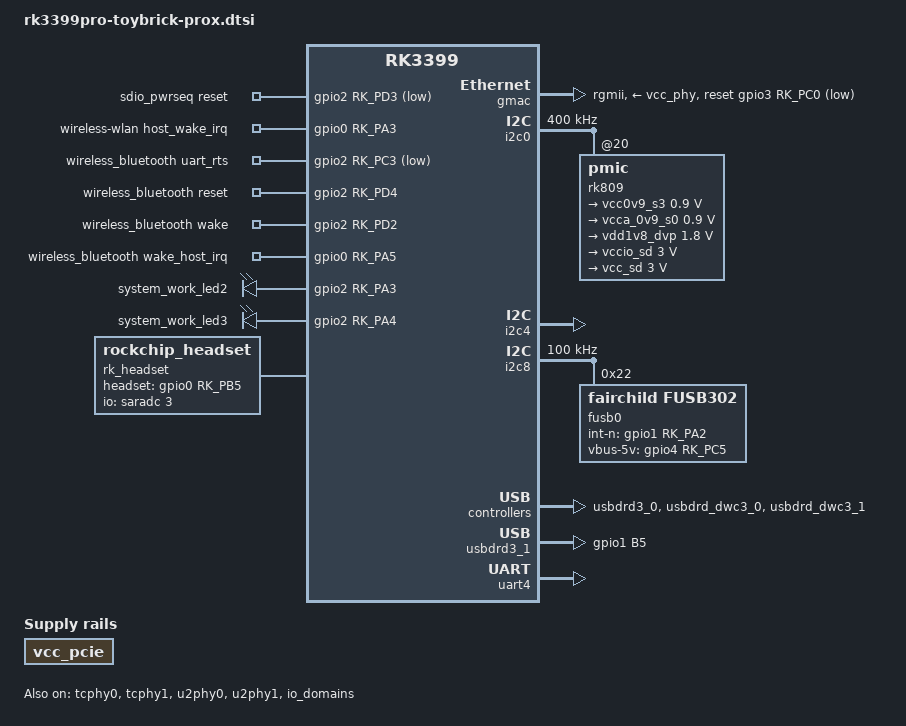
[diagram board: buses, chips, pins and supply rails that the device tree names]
/*
 * Copyright (c) 2019 Fuzhou Rockchip Electronics Co., Ltd
 *
 * This file is dual-licensed: you can use it either under the terms
 * of the GPL or the X11 license, at your option. Note that this dual
 * licensing only applies to this file, and not this project as a
 * whole.
 *
 *  a) This file is free software; you can redistribute it and/or
 *     modify it under the terms of the GNU General Public License as
 *     published by the Free Software Foundation; either version 2 of the
 *     License, or (at your option) any later version.
 *
 *     This file is distributed in the hope that it will be useful,
 *     but WITHOUT ANY WARRANTY; without even the implied warranty of
 *     MERCHANTABILITY or FITNESS FOR A PARTICULAR PURPOSE.  See the
 *     GNU General Public License for more details.
 *
 * Or, alternatively,
 *
 *  b) Permission is hereby granted, free of charge, to any person
 *     obtaining a copy of this software and associated documentation
 *     files (the "Software"), to deal in the Software without
 *     restriction, including without limitation the rights to use,
 *     copy, modify, merge, publish, distribute, sublicense, and/or
 *     sell copies of the Software, and to permit persons to whom the
 *     Software is furnished to do so, subject to the following
 *     conditions:
 *
 *     The above copyright notice and this permission notice shall be
 *     included in all copies or substantial portions of the Software.
 *
 *     THE SOFTWARE IS PROVIDED "AS IS", WITHOUT WARRANTY OF ANY KIND,
 *     EXPRESS OR IMPLIED, INCLUDING BUT NOT LIMITED TO THE WARRANTIES
 *     OF MERCHANTABILITY, FITNESS FOR A PARTICULAR PURPOSE AND
 *     NONINFRINGEMENT. IN NO EVENT SHALL THE AUTHORS OR COPYRIGHT
 *     HOLDERS BE LIABLE FOR ANY CLAIM, DAMAGES OR OTHER LIABILITY,
 *     WHETHER IN AN ACTION OF CONTRACT, TORT OR OTHERWISE, ARISING
 *     FROM, OUT OF OR IN CONNECTION WITH THE SOFTWARE OR THE USE OR
 *     OTHER DEALINGS IN THE SOFTWARE.
 */

#include "rk3399pro-toybrick.dtsi"
#include "rk3399-vop-clk-set.dtsi"

/ {
	compatible = "rockchip,rk3399pro-toybrick-prox","rockchip,rk3399pro";

	vcc_pcie: vcc-pcie-regulator {
		compatible = "regulator-fixed";
		enable-active-high;
		//gpio = <&gpio2 6 GPIO_ACTIVE_HIGH>;
		pinctrl-names = "default";
		//pinctrl-0 = <&vcc_pcie_drv>;
		regulator-name = "vcc_pcie";
		regulator-always-on;
		regulator-boot-on;
	};

	sdio_pwrseq: sdio-pwrseq {
		compatible = "mmc-pwrseq-simple";
		clocks = <&rk809 1>;
		clock-names = "ext_clock";
		pinctrl-names = "default";
		pinctrl-0 = <&wifi_enable_h>;

		/*
		 * On the module itself this is one of these (depending
		 * on the actual card populated):
		 * - SDIO_RESET_L_WL_REG_ON
 		* - PDN (power down when low)
 		*/
		reset-gpios = <&gpio2 RK_PD3 GPIO_ACTIVE_LOW>;
	};

	wireless-wlan {
		compatible = "wlan-platdata";
		rockchip,grf = <&grf>;
		wifi_chip_type = "ap6255";
		sdio_vref = <1800>;
		WIFI,host_wake_irq = <&gpio0 RK_PA3 GPIO_ACTIVE_HIGH>; /* GPIO0_A3 */
		status = "okay";
	};

	wireless_bluetooth: wireless-bluetooth {
		compatible = "bluetooth-platdata";
		clocks = <&rk809 1>;
		clock-names = "ext_clock";
		/* wifi-bt-power-toggle; */
		uart_rts_gpios = <&gpio2 RK_PC3 GPIO_ACTIVE_LOW>;//UART0_RTS_BT
		pinctrl-names = "default", "rts_gpio";
		pinctrl-0 = <&uart0_rts>;
		pinctrl-1 = <&uart0_gpios>;
		/* BT,power_gpio  = <&gpio3 19 GPIO_ACTIVE_HIGH>; */
		BT,reset_gpio    = <&gpio2 RK_PD4 GPIO_ACTIVE_HIGH>;//BT_REG_ON_H 
		BT,wake_gpio     = <&gpio2 RK_PD2 GPIO_ACTIVE_HIGH>;//BT_WAKE_L  
		BT,wake_host_irq = <&gpio0 RK_PA5 GPIO_ACTIVE_HIGH>;//BT_HOST_WAKE_L  
		status = "okay";
	};

	leds: gpio-leds {
		compatible = "gpio-leds";
		pinctrl-names = "default";
		pinctrl-0 =<&leds_gpio>;
		/*
		led@1 {
			gpios = <&gpio2 RK_PA5 GPIO_ACTIVE_HIGH>;
			label = "system_work_led1"; // Blue LED
			retain-state-suspended;
		};
		*/
		led@2 {
			gpios = <&gpio2 RK_PA3 GPIO_ACTIVE_HIGH>;
			label = "system_work_led2"; // Red LED
			retain-state-suspended;
		};

		led@3 {
			gpios = <&gpio2 RK_PA4 GPIO_ACTIVE_HIGH>;
			label = "system_work_led3"; // Green LED
			retain-state-suspended;
		};
	};

	rk_headset {
		compatible = "rockchip_headset";
		headset_gpio = <&gpio0 RK_PB5 GPIO_ACTIVE_HIGH>;
		pinctrl-names = "default";
		pinctrl-0 = <&hp_det>;
		io-channels = <&saradc 3>;
	};
	usbacm_video_control: usbacm-video-control {
		compatible = "rockchip,usbacm-video-control";
		status = "disabled";
	};
};

&gmac {
	phy-supply = <&vcc_phy>;
	phy-mode = "rgmii";
	clock_in_out = "input";
	snps,reset-gpio = <&gpio3 RK_PC0 GPIO_ACTIVE_LOW>;
	snps,reset-active-low;
	snps,reset-delays-us = <0 10000 50000>;
	assigned-clocks = <&cru SCLK_RMII_SRC>;
	assigned-clock-parents = <&clkin_gmac>;
	pinctrl-names = "default";
	pinctrl-0 = <&rgmii_pins>;
	tx_delay = <0x28>;
	rx_delay = <0x20>;
	status = "okay";
};

&i2c0 {
	status = "okay";
	i2c-scl-rising-time-ns = <180>;
	i2c-scl-falling-time-ns = <30>;
	clock-frequency = <400000>;
	rk809: pmic@20 {
		regulators {
			vcc0v9_s3: LDO_REG1 {
				regulator-always-on;
				regulator-boot-on;
				regulator-min-microvolt = <900000>;
				regulator-max-microvolt = <900000>;
				regulator-name = "vcc0v9_s3";
				regulator-state-mem {
					regulator-on-in-suspend;
					regulator-suspend-microvolt = <900000>;
				};
			};
			
			vcca_0v9_s0: LDO_REG3 {
				regulator-always-on;
				regulator-boot-on;
				regulator-min-microvolt = <900000>;
				regulator-max-microvolt = <900000>;

				regulator-name = "vcca_0v9_s0";
				regulator-state-mem {
					regulator-off-in-suspend;
				};
			};

			vdd1v8_dvp: LDO_REG5 {
				regulator-always-on;
				regulator-boot-on;
				regulator-min-microvolt = <1800000>;
				regulator-max-microvolt = <1800000>;

				regulator-name = "vdd1v8_dvp";
				regulator-state-mem {
					regulator-off-in-suspend;
				};
			};

			vccio_sd: LDO_REG8 {
				regulator-always-on;
				regulator-boot-on;
				regulator-min-microvolt = <3000000>;
				regulator-max-microvolt = <3000000>;

				regulator-name = "vccio_sd";
				regulator-state-mem {
					regulator-on-in-suspend;
					regulator-suspend-microvolt = <3000000>;
				};
			};

			vcc_sd: LDO_REG9 {
				regulator-always-on;
				regulator-boot-on;
				regulator-min-microvolt = <3000000>;
				regulator-max-microvolt = <3000000>;

				regulator-name = "vcc_sd";
				regulator-state-mem {
					regulator-on-in-suspend;
					regulator-suspend-microvolt = <3000000>;
				};
			};
		};
	};
};


&i2c4 {
	status = "okay";
	gt1x: gt1x@14 {
		status = "disabled";
		compatible = "goodix,gt1x";
		pinctrl-names = "default";
		pinctrl-0 = <&mipi_touch_int>;
		reg = <0x14>;
		goodix,rst-gpio = <&gpio4 RK_PC6 GPIO_ACTIVE_HIGH>;
		goodix,irq-gpio = <&gpio4 RK_PD0 IRQ_TYPE_LEVEL_LOW>;
		goodix,enable-gpio = <&gpio4 RK_PD6 GPIO_ACTIVE_HIGH>;
	};

	gsl3673: gsl3673@40 {
		status = "disabled";
		compatible = "GSL,GSL3673";
		pinctrl-names = "default";
		pinctrl-0 = <&edp_touch_int>;
		reg = <0x40>;
		screen_max_x = <1536>;
		screen_max_y = <2048>;

		irq_gpio_number = <&gpio2 RK_PB4 IRQ_TYPE_LEVEL_LOW>;
		rst_gpio_number = <&gpio2 RK_PA2 GPIO_ACTIVE_HIGH>;
	};
};

&i2c8 {
	status = "okay";
	i2c-scl-rising-time-ns = <345>;
	i2c-scl-falling-time-ns = <11>;
	clock-frequency = <100000>;

	fusb0: fusb30x@22 {
		compatible = "fairchild,fusb302";
		reg = <0x22>;
		pinctrl-names = "default";
		pinctrl-0 = <&fusb0_int>;
		int-n-gpios = <&gpio1 RK_PA2 GPIO_ACTIVE_HIGH>;
		vbus-5v-gpios = <&gpio4 RK_PC5 GPIO_ACTIVE_HIGH>;
		status = "okay";
	};
};

&usbdrd3_0 {
        extcon = <&fusb0>;
        status = "okay";
};

&usbdrd3_1 {
        status = "okay";
        pinctrl-names = "default";
		pinctrl-0 = <&usb3_host_en>;
};

&usbdrd_dwc3_0 {
        status = "okay";
};

&usbdrd_dwc3_1 {
        snps,dis-u3-autosuspend-quirk;
        status = "okay";
};

&tcphy0 {
	extcon = <&fusb0>;
	status = "okay";
};

&tcphy1 {
	status = "okay";
};

&u2phy0 {
	status = "okay";
	extcon = <&fusb0>;

	u2phy0_otg: otg-port {
		status = "okay";
	};

	u2phy0_host: host-port {
		phy-supply = <&vcc5v0_usb>;
		status = "okay";
	};
};

&u2phy1 {
	status = "okay";

	u2phy1_otg: otg-port {
		status = "okay";
	};

	u2phy1_host: host-port {
		phy-supply = <&vcc5v0_usb>;
		status = "okay";
	};
};

&cdn_dp {
	status = "disabled";
	extcon = <&fusb0>;
	phys = <&tcphy0_dp>;
};

&dp_in_vopb {
	status = "disabled";
};

&io_domains {
	status = "okay";
	bt656-supply = <&vcca_1v8>; /* APIO2_VDD */
	audio-supply = <&vcca_1v8>; /* APIO5_VDD */
	sdmmc-supply = <&vccio_sd>; /* SDMMC0_VDD */
	gpio1830-supply = <&vcc_3v0>; /* APIO4_VDD */
};

&pmu_io_domains {
	status = "okay";
	pmu1830-supply = <&vcc_1v8>;
};

&uart4 {
	status = "okay";
};

&pinctrl {

	fusb30x {
		fusb0_int: fusb0-int {
			rockchip,pins =
				<1 RK_PA2 0 &pcfg_pull_up>;
		};
	};

	usb3 {
		usb3_host_en: usb3-host-en {
			rockchip,pins =
				<1 RK_PB5 RK_FUNC_GPIO &pcfg_output_high>;
		};
	};

	leds_gpio: leds-gpio {
		rockchip,pins =
			//<2 RK_PA5 RK_FUNC_GPIO &pcfg_pull_up>,
			<2 RK_PA3 RK_FUNC_GPIO &pcfg_pull_up>,
			<2 RK_PA4 RK_FUNC_GPIO &pcfg_pull_up>;
	};

	headphone {
		hp_det: hp-det {
			rockchip,pins =
				<0 RK_PB5 0 &pcfg_pull_up>;
		};
	};
	
	/*
	pcie {
		vcc_pcie_drv: vcc-pcie-drv {
			rockchip,pins =
				<2 RK_PA6 RK_FUNC_GPIO &pcfg_pull_up>;
		};
	};*/ 

	touch {
		mipi_touch_int: mipi-touch-int {
			rockchip,pins =
				<4 RK_PD0 RK_FUNC_GPIO &pcfg_pull_none>;
		};

		edp_touch_int: edp-touch-int {
			rockchip,pins =
				<2 RK_PB4 RK_FUNC_GPIO &pcfg_pull_none>;
		};
	};

	lcd {
		edp_bl_en: edp-bl-en {
			rockchip,pins =
				<4 RK_PD4 RK_FUNC_GPIO &pcfg_output_high>;
		};
	};
	
	sdio-pwrseq {
		wifi_enable_h: wifi-enable-h {
			rockchip,pins =
				<2 RK_PD3 RK_FUNC_GPIO &pcfg_pull_none>;
		};
	};

	wireless-bluetooth {
		uart0_gpios: uart0-gpios {
			rockchip,pins =
				<2 RK_PC3 RK_FUNC_GPIO &pcfg_pull_none>;
		};
	};
};


